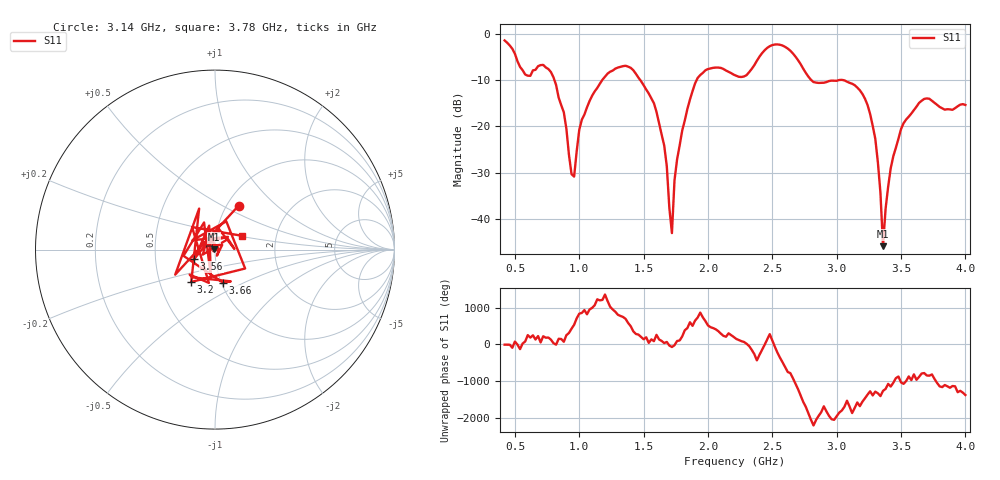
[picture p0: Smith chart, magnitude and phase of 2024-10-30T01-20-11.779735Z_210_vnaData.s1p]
!Created with skrf (http://scikit-rf.org).
# Hz S RI R 50.0
!freq ReS11 ImS11
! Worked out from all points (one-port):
!   180 points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, 420 MHz to 4 GHz, reference 50 ohm
!   lowest |S11| = -45.9 dB at 3.36 GHz (marker M1), VSWR 1.01, Z = 49.5 + j0.086 ohm
!   |S11| at or under -10 dB: 806.8 MHz to 1.179 GHz (372 MHz wide, 37.5 % of centre); 1.473 GHz to 1.912 GHz (439 MHz wide, 25.9 % of centre); 3.045 GHz to end of sweep (the widest 3 of 4)
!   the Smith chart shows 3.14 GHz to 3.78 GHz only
!   S11 on the Smith chart (normalised r, x): 3.14 GHz: 1.13, +0.60; 3.2 GHz: 0.72, -0.27; 3.56 GHz: 0.79, -0.08; 3.66 GHz: 1.02, -0.39; 3.78 GHz: 1.34, +0.21
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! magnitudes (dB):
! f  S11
! 420 MHz  -1.5
! 580 MHz  -8.8
! 780 MHz  -8.3
! 880 MHz  -17.0
! 960 MHz  -30.9
! 1 GHz  -20.8
! 1.08 GHz  -14.5
! 1.32 GHz  -7.2
! 1.58 GHz  -15.0
! 1.66 GHz  -24.2
! 1.72 GHz  -43.1
! 1.74 GHz  -31.6
! 1.78 GHz  -24.1
! 1.92 GHz  -9.6
! 2.22 GHz  -9.1
! 2.66 GHz  -4.3
! 2.82 GHz  -10.4
! 3.12 GHz  -10.8
! 3.14 GHz  -11.1
! 3.2 GHz  -13.0
! 3.3 GHz  -22.7
! 3.34 GHz  -34.4
! 3.36 GHz  -45.9
! 3.42 GHz  -29.0
! 3.56 GHz  -17.9
! 3.66 GHz  -14.5
! 3.78 GHz  -15.4
! 4 GHz  -15.4
